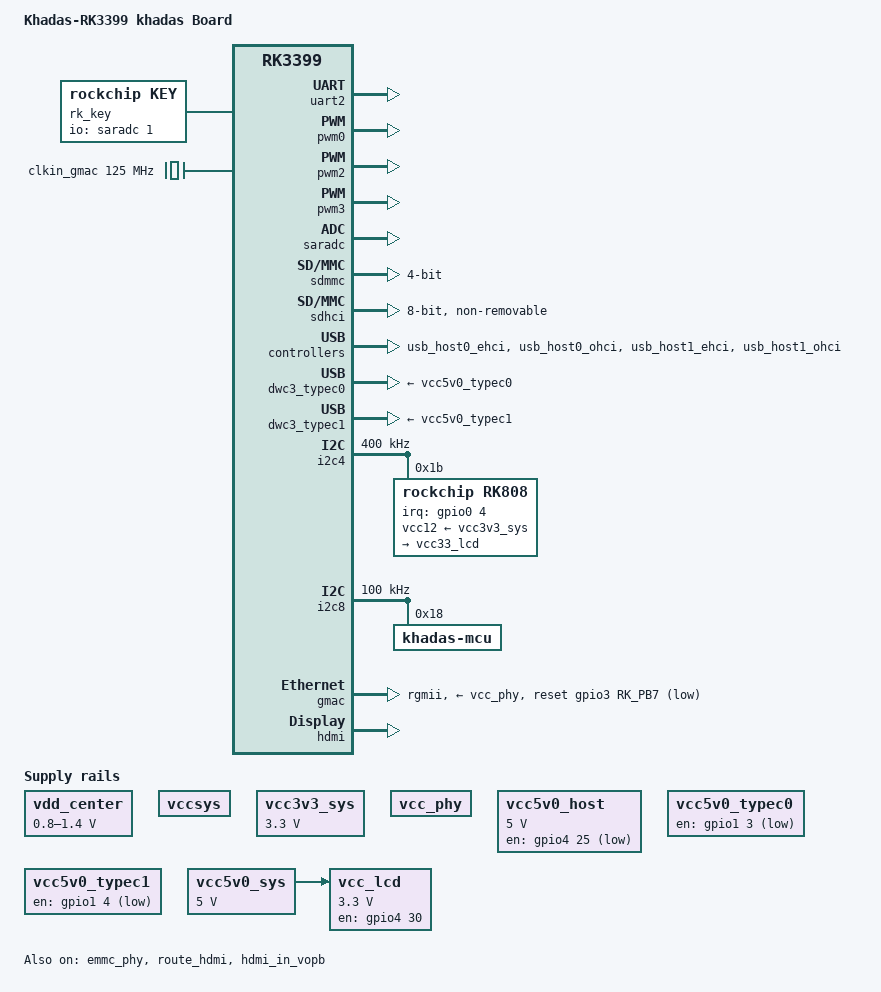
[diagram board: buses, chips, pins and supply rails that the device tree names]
/*
 * (C) Copyright 2016 Rockchip Electronics Co., Ltd
 *
 * SPDX-License-Identifier:     GPL-2.0+
 */

/dts-v1/;
#include <dt-bindings/pwm/pwm.h>
#include <dt-bindings/pinctrl/rockchip.h>
#include "rk3399.dtsi"
#include "rk3399-sdram-lpddr3-4GB-1600.dtsi"
#include "rk3399-u-boot.dtsi"
#include <linux/media-bus-format.h>
#include <dt-bindings/input/input.h>

/ {
	model = "Khadas-RK3399 khadas Board";
	compatible = "khadas,khadas-rk3399", "rockchip,rk3399";

	rk_key {
		u-boot,dm-pre-reloc;
		compatible = "rockchip,key";
		status = "okay";
		io-channels = <&saradc 1>;

		power-key {
			gpios = <&gpio0 5 GPIO_ACTIVE_LOW>;
			linux,code = <116>;
			label = "power";
			gpio-key,wakeup;
		};

		home-key {
			linux,code = <102>;
			label = "home";
			rockchip,adc_value = <70>;
		};
		
		enter-key {
			linux,code = <232>;
			label = "enter";
			rockchip,adc_value = <170>;
		};				
	};

	vdd_center: vdd-center {
		compatible = "pwm-regulator";
		pwms = <&pwm3 0 25000 1>;
		regulator-name = "vdd_center";
		regulator-min-microvolt = <800000>;
		regulator-max-microvolt = <1400000>;
		regulator-init-microvolt = <950000>;
		regulator-always-on;
		regulator-boot-on;
		status = "okay";
	};

	vccsys: vccsys {
		compatible = "regulator-fixed";
		regulator-name = "vccsys";
		regulator-boot-on;
		regulator-always-on;
	};

	vcc3v3_sys: vcc3v3-sys {
		compatible = "regulator-fixed";
		regulator-name = "vcc3v3_sys";
		regulator-always-on;
		regulator-boot-on;
		regulator-min-microvolt = <3300000>;
		regulator-max-microvolt = <3300000>;
	};

	vcc_phy: vcc-phy-regulator {
		compatible = "regulator-fixed";
		regulator-name = "vcc_phy";
		regulator-always-on;
		regulator-boot-on;
	};

	vcc5v0_host: vcc5v0-host-en {
		compatible = "regulator-fixed";
		regulator-name = "vcc5v0_host";
		gpio = <&gpio4 25 GPIO_ACTIVE_HIGH>;
		regulator-min-microvolt = <5000000>;
		regulator-max-microvolt = <5000000>;
		regulator-always-on;
		regulator-boot-on;
	};

	vcc5v0_typec0: vcc5v0-typec0-en {
		compatible = "regulator-fixed";
		regulator-name = "vcc5v0_typec0";
		gpio = <&gpio1 3 GPIO_ACTIVE_HIGH>;
	};

	vcc5v0_typec1: vcc5v0-typec1-en {
		compatible = "regulator-fixed";
		regulator-name = "vcc5v0_typec1";
		gpio = <&gpio1 4 GPIO_ACTIVE_HIGH>;
	};

	clkin_gmac: external-gmac-clock {
		compatible = "fixed-clock";
		clock-frequency = <125000000>;
		clock-output-names = "clkin_gmac";
		#clock-cells = <0>;
	};

	backlight: backlight {
		compatible = "pwm-backlight";
		power-supply = <&vccsys>;
		enable-gpios = <&gpio1 13 GPIO_ACTIVE_HIGH>;
		brightness-levels = <
			  0   1   2   3   4   5   6   7
			  8   9  10  11  12  13  14  15
			 16  17  18  19  20  21  22  23
			 24  25  26  27  28  29  30  31
			 32  33  34  35  36  37  38  39
			 40  41  42  43  44  45  46  47
			 48  49  50  51  52  53  54  55
			 56  57  58  59  60  61  62  63
			 64  65  66  67  68  69  70  71
			 72  73  74  75  76  77  78  79
			 80  81  82  83  84  85  86  87
			 88  89  90  91  92  93  94  95
			 96  97  98  99 100 101 102 103
			104 105 106 107 108 109 110 111
			112 113 114 115 116 117 118 119
			120 121 122 123 124 125 126 127
			128 129 130 131 132 133 134 135
			136 137 138 139 140 141 142 143
			144 145 146 147 148 149 150 151
			152 153 154 155 156 157 158 159
			160 161 162 163 164 165 166 167
			168 169 170 171 172 173 174 175
			176 177 178 179 180 181 182 183
			184 185 186 187 188 189 190 191
			192 193 194 195 196 197 198 199
			200 201 202 203 204 205 206 207
			208 209 210 211 212 213 214 215
			216 217 218 219 220 221 222 223
			224 225 226 227 228 229 230 231
			232 233 234 235 236 237 238 239
			240 241 242 243 244 245 246 247
			248 249 250 251 252 253 254 255>;
		default-brightness-level = <200>;
		pwms = <&pwm0 0 25000 0>;
		pinctrl-names = "default";
		pinctrl-0 = <&pwm0_pin>;
		pwm-delay-us = <10000>;
		status = "disabled";
	};

	vcc5v0_sys: vcc5v0-sys {
		compatible = "regulator-fixed";
		regulator-name = "vcc5v0_sys";
		regulator-always-on;
		regulator-boot-on;
		regulator-min-microvolt = <5000000>;
		regulator-max-microvolt = <5000000>;
	};

	vcc_lcd: vcc-lcd {
		compatible = "regulator-fixed";
		regulator-name = "vcc_lcd";
		gpio = <&gpio4 30 GPIO_ACTIVE_HIGH>;
		startup-delay-us = <20000>;
		enable-active-high;
		regulator-min-microvolt = <3300000>;
		regulator-max-microvolt = <3300000>;
		regulator-boot-on;
		vin-supply = <&vcc5v0_sys>;
	};
};

&uart2 {
	status = "okay";
};

&emmc_phy {
	status = "okay";
};

&pwm0 {
	status = "okay";
};

&pwm2 {
	status = "okay";
};

&pwm3 {
	status = "okay";
};

&saradc {
	status = "okay";
};

&sdmmc {
	bus-width = <4>;
	status = "okay";
};

&sdhci {
	bus-width = <8>;
	mmc-hs400-1_8v;
	mmc-hs400-enhanced-strobe;
	non-removable;
	status = "okay";
};

&usb_host0_ehci {
	status = "okay";
};

&usb_host0_ohci {
	status = "okay";
};

&dwc3_typec0 {
	vbus-supply = <&vcc5v0_typec0>;
	status = "okay";
};

&usb_host1_ehci {
	status = "okay";
};

&usb_host1_ohci {
	status = "okay";
};

&dwc3_typec1 {
	vbus-supply = <&vcc5v0_typec1>;
	status = "okay";
};

&i2c4 {
	status = "okay";
	clock-frequency = <400000>;
	i2c-scl-falling-time-ns = <50>;
	i2c-scl-rising-time-ns = <100>;

	rk808: pmic@1b {
		compatible = "rockchip,rk808";
		clock-output-names = "xin32k", "wifibt_32kin";
		interrupt-parent = <&gpio0>;
		interrupts = <4 IRQ_TYPE_LEVEL_LOW>;
		pinctrl-names = "default";
		pinctrl-0 = <&pmic_int_l>;
		reg = <0x1b>;
		rockchip,system-power-controller;
		#clock-cells = <1>;
		status = "okay";

		vcc12-supply = <&vcc3v3_sys>;

		regulators {
			vcc33_lcd: SWITCH_REG2 {
				regulator-always-on;
				regulator-boot-on;
				regulator-name = "vcc33_lcd";
			};
		};
	};
};

&i2c8 {
	status = "okay";
	clock-frequency = <100000>;
	i2c-scl-falling-time-ns = <50>;
	i2c-scl-rising-time-ns = <100>;

	khadas-mcu {
		compatible = "khadas-mcu";
		status = "okay";
		reg = <0x18>;
	};
};

&pinctrl {
	pmic {
		pmic_int_l: pmic-int-l {
			rockchip,pins =
				<1 21 RK_FUNC_GPIO &pcfg_pull_up>;
		};

		pmic_dvs2: pmic-dvs2 {
			rockchip,pins =
				<1 18 RK_FUNC_GPIO &pcfg_pull_down>;
		};
	};
};

&gmac {
        phy-supply = <&vcc_phy>;
	phy-mode = "rgmii";
	clock_in_out = "input";
	snps,reset-gpio = <&gpio3 RK_PB7 GPIO_ACTIVE_LOW>;
	snps,reset-active-low;
	snps,reset-delays-us = <0 10000 50000>;
	assigned-clocks = <&cru SCLK_RMII_SRC>;
	assigned-clock-parents = <&clkin_gmac>;
	pinctrl-names = "default";
	pinctrl-0 = <&rgmii_pins>;
	tx_delay = <0x28>;
	rx_delay = <0x11>;
	status = "okay";
};

&hdmi {
	status = "okay";
	rockchip,phy-table =
		<74250000 0x8009 0x0004 0x0272>,
		<165000000 0x802b 0x0004 0x0209>,
		<297000000 0x8029 0x0005 0x028d>,
		<594000000 0x8039 0x0000 0x0090>,
		<000000000 0x0000 0x0000 0x0000>;
};

&route_hdmi {
	status = "okay";
	connect = <&vopb_out_hdmi>;
};

&hdmi_in_vopb {
	status = "okay";
};

&hdmi_in_vopl {
	status = "disabled";
};

&vopb {
	assigned-clocks = <&cru DCLK_VOP0_DIV>;
	assigned-clock-parents = <&cru PLL_VPLL>;
};

&vopl {
	assigned-clocks = <&cru DCLK_VOP1_DIV>;
	assigned-clock-parents = <&cru PLL_CPLL>;
};

&pwm3 {
	status = "okay";

	interrupts = <GIC_SPI 61 IRQ_TYPE_LEVEL_HIGH 0>;
	compatible = "rockchip,remotectl-pwm";
	remote_pwm_id = <3>;
	handle_cpu_id = <1>;
	remote_support_psci = <1>;
	pinctrl-names = "default";
	pinctrl-0 = <&pwm3b_pin>;

	ir_key1 {
		rockchip,usercode = <0xff00>;
		rockchip,key_table =
			<0xeb   KEY_POWER>,
			<0xec   KEY_MENU>,
			<0xfc   KEY_UP>,
			<0xfd   KEY_DOWN>,
			<0xf1   KEY_LEFT>,
			<0xe5   KEY_RIGHT>,
			<0xf8   232>,
			<0xa7   KEY_VOLUMEDOWN>,
			<0xa3    388>,  //mouse func
			<0xa4    388>,  //mouse func
			<0xf4   KEY_VOLUMEUP>,
			<0xfe   KEY_BACK>,
			<0xb7   KEY_HOME>;

	};

};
